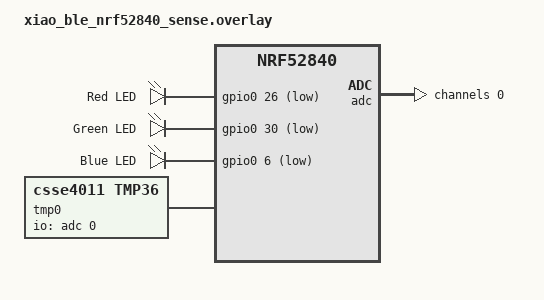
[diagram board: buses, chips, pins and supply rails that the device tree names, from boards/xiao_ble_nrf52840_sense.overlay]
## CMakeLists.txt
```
# SPDX-License-Identifier: Apache-2.0

cmake_minimum_required(VERSION 3.20.0)
find_package(Zephyr REQUIRED HINTS $ENV{ZEPHYR_BASE})
project(dispenser)

target_sources(app PRIVATE 
                src/main.c 
                src/mqtt_handler.c
                src/servo.c
                src/ir_beam.c
                src/wifi.c
)
```

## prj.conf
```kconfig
# # GPIO for IR beam and servo
# CONFIG_GPIO=y

# # Serial and console
# CONFIG_SERIAL=y
# CONFIG_CONSOLE=y
# CONFIG_PRINTK=y
# CONFIG_STDOUT_CONSOLE=y

# # State machine framework
# CONFIG_SMF=y

# # Shell
# CONFIG_SHELL=y
# # CONFIG_SHELL_BACKEND_SERIAL=y

# # Logging
# CONFIG_LOG=y

# # PWM for servo (when ready)
# CONFIG_PWM=y

# # GPIO
# CONFIG_GPIO=y

# # PWM
# CONFIG_PWM=y

# # Storage
# CONFIG_NVS=y
# CONFIG_FLASH=y
# CONFIG_FLASH_MAP=y

# # State machine
# CONFIG_SMF=y

# GPIO
CONFIG_GPIO=y

# PWM
CONFIG_PWM=y

# Storage
CONFIG_NVS=y
CONFIG_FLASH=y
CONFIG_FLASH_MAP=y

# State machine
CONFIG_SMF=y

# USB CDC ACM console
CONFIG_USB_DEVICE_STACK=y
CONFIG_USB_CDC_ACM=y
CONFIG_UART_LINE_CTRL=y

# Console
CONFIG_SERIAL=y
CONFIG_CONSOLE=y
CONFIG_UART_CONSOLE=y
CONFIG_PRINTK=y
CONFIG_STDOUT_CONSOLE=y

# Logging
CONFIG_LOG=y
CONFIG_LOG_BACKEND_UART=y

# Shell
CONFIG_SHELL=y
CONFIG_SHELL_BACKEND_SERIAL=y

# Disable RTT
CONFIG_USE_SEGGER_RTT=n

# SERVO FLAGS
```

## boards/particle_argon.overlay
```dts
#include <zephyr/dt-bindings/pwm/pwm.h>

/ {
    chosen {
        zephyr,console = &cdc_acm_uart0;
        zephyr,shell-uart = &cdc_acm_uart0;
        zephyr,uart-mcumgr = &cdc_acm_uart0;
    };

    pwmleds {
        compatible = "pwm-leds";
        servo: servo {
            pwms = <&pwm0 0 PWM_MSEC(20) PWM_POLARITY_NORMAL>;
        };
    };

    ir_beam: ir_beam {
        compatible = "gpio-keys";
        ir_sensor: ir_sensor {
            gpios = <&gpio1 2 (GPIO_ACTIVE_LOW | GPIO_PULL_UP)>;
            label = "IR Break Beam";
        };
    };
};

&zephyr_udc0 {
    cdc_acm_uart0: cdc_acm_uart0 {
        compatible = "zephyr,cdc-acm-uart";
    };
};

&pwm0 {
    status = "okay";
    pinctrl-0 = <&pwm0_default>;
    pinctrl-names = "default";
};

&pinctrl {
    pwm0_default: pwm0_default {
        group1 {
            psels = <NRF_PSEL(PWM_OUT0, 1, 1)>;
        };
    };
};
```

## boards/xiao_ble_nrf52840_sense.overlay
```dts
/ {
	aliases {
        led0 = &led0;
        led1 = &led1;
        led2 = &led2;
    };

    leds {
        compatible = "gpio-leds";

      led0: led_0 {
            gpios = <&gpio0 26 GPIO_ACTIVE_LOW>;
            label = "Red LED";
        };

        led1: led_1 {
            gpios = <&gpio0 30 GPIO_ACTIVE_LOW>;
            label = "Green LED";
        };

        led2: led_2 {
            gpios = <&gpio0 6 GPIO_ACTIVE_LOW>;
            label = "Blue LED";
        };
    };

    tmp0: tmp36 {
        compatible = "csse4011,tmp36";
        io-channels = <&adc 0>;
        status = "okay";
    };
};

&adc {
	#address-cells = <1>;
	#size-cells = <0>;

	channel@0 {
		reg = <0>;
		zephyr,gain = "ADC_GAIN_1_6";
		zephyr,reference = "ADC_REF_INTERNAL";
		zephyr,acquisition-time = <ADC_ACQ_TIME_DEFAULT>;
		zephyr,input-positive = <NRF_SAADC_AIN0>; /* D0 P0.02 */
		zephyr,resolution = <12>;
	};
};
```

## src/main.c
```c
/*
 * Copyright (c) 2026 Sam Kwort
 *
 * SPDX-License-Identifier: Apache-2.0
 */

#include <zephyr/kernel.h>
#include <zephyr/drivers/gpio.h>
#include <zephyr/shell/shell.h>
#include <zephyr/smf.h>
#include <zephyr/logging/log.h>
#include "main.h"
#include "mqtt_handler.h"
#include <zephyr/usb/usb_device.h>
#include <zephyr/drivers/uart.h>
#include "wifi.h"
#include "ir_beam.h"
#include "servo.h"

LOG_MODULE_REGISTER(dispenser, LOG_LEVEL_INF);

/* ========================================================================== */
/* State durations (ms) */
#define TICK_MS            100
#define STATE_COUNT         6

/* ========================================================================== */
/* State Machine Context                                                      */
/* ========================================================================== */

static const char *const state_names[] = {
    [STATE_IDLE] = "IDLE",
    [STATE_LOCKED] = "LOCKED",
    [STATE_WAITING_PIN] = "WAITING_PIN",
    [STATE_VALIDATING] = "VALIDATING",
    [STATE_UNLOCKED] = "UNLOCKED",
    [STATE_DISPENSING] = "DISPENSING",
};


struct dispenser_ctx dispenser_ctx;

/* ========================================================================== */
/* Forward Declarations                                                       */
/* ========================================================================== */

static enum smf_state_result idle_run(void *obj);

static void locked_entry(void *obj);
static enum smf_state_result locked_run(void *obj);

static void waiting_pin_entry(void *obj);
static enum smf_state_result waiting_pin_run(void *obj);

static void validating_entry(void *obj);
static enum smf_state_result validating_run(void *obj);

static void unlocked_entry(void *obj);
static enum smf_state_result unlocked_run(void *obj);

static void dispensing_entry(void *obj);
static enum smf_state_result dispensing_run(void *obj);


/* ========================================================================== */
/* State Table                                                                */
/* ========================================================================== */

static const struct smf_state states[] = {
    [STATE_IDLE] = SMF_CREATE_STATE(NULL, idle_run, NULL, NULL, NULL),

    [STATE_LOCKED] = SMF_CREATE_STATE(locked_entry, locked_run, NULL, NULL, NULL),

    [STATE_WAITING_PIN] = SMF_CREATE_STATE(waiting_pin_entry, waiting_pin_run, NULL, NULL, NULL),

    [STATE_VALIDATING] = SMF_CREATE_STATE(validating_entry, validating_run, NULL, NULL, NULL),

    [STATE_UNLOCKED] = SMF_CREATE_STATE(unlocked_entry, unlocked_run, NULL, NULL, NULL),
    
    [STATE_DISPENSING] = SMF_CREATE_STATE(dispensing_entry, dispensing_run, NULL, NULL, NULL),
};

/* ========================================================================== */
/* State Handlers                                                             */
/* ========================================================================== */

// Wait for scheduled unlock command from base, then transition to WAITING_PIN
static enum smf_state_result idle_run(void *obj)
{
    struct dispenser_ctx *ctx = obj;

    if (ctx->unlock_received) {
        // Reset for new cycle
        ctx->unlock_received = false;
        smf_set_state(SMF_CTX(ctx), &states[STATE_WAITING_PIN]);
        return SMF_EVENT_HANDLED;
    }

    return SMF_EVENT_HANDLED;
}

// Display "ENTER PIN" message to user
static void waiting_pin_entry(void *obj)
{
    struct dispenser_ctx *ctx = obj;
    // Clear entered pin for next cycle
    memset(ctx->entered_pin, 0, sizeof(ctx->entered_pin));  
    LOG_INF("ENTER PIN");
}

// Wait for pin entry from keypad, then transition to VALIDATING
static enum smf_state_result waiting_pin_run(void *obj)
{
    struct dispenser_ctx *ctx = obj;

    if (ctx->entered_pin[0] != '\0') { // simple check for pin entry
        smf_set_state(SMF_CTX(ctx), &states[STATE_VALIDATING]);
        return SMF_EVENT_HANDLED;
    }

    return SMF_EVENT_HANDLED;
}

// Display "VALIDATING" message to user
static void validating_entry(void *obj)
{
    struct dispenser_ctx *ctx = obj;
    LOG_INF("VALIDATING");
}

// Check entered pin against correct pin, transition to UNLOCKED or LOCKED
static enum smf_state_result validating_run(void *obj)
{
    struct dispenser_ctx *ctx = obj;
    if (strcmp(ctx->entered_pin, ctx->correct_pin) == 0) {
        smf_set_state(SMF_CTX(ctx), &states[STATE_UNLOCKED]);
        LOG_INF("Correct PIN");
    } 
    else {
        char payload[512];
        build_dispense_failure_event(ctx, "invalid_pin", payload, sizeof(payload));
        // Placeholder for MQTT publish function, replace with real implementation later
        // mqtt_publish_event(payload);
        smf_set_state(SMF_CTX(ctx), &states[STATE_LOCKED]);
        LOG_INF("Incorrect PIN");
    }

    return SMF_EVENT_HANDLED;
}

// Display "UNLOCKED" message and open servo
static void unlocked_entry(void *obj)
{
    struct dispenser_ctx *ctx = obj;
    ctx->servo_open = true;
    LOG_INF("UNLOCKED");
    // Opening servo and keeping track of how many times it's opened for maintenance purposes
    servo_open(); 
    ctx->servo_number_opens++;
}

// Transition straight to DISPENSING
static enum smf_state_result unlocked_run(void *obj)
{
    struct dispenser_ctx *ctx = obj;

    smf_set_state(SMF_CTX(ctx), &states[STATE_DISPENSING]);
    return SMF_EVENT_HANDLED;
}

// Close servo if open, display "LOCKED" message to user
static void locked_entry(void *obj)
{
    struct dispenser_ctx *ctx = obj;

    if (ctx->servo_open) {
        // Placeholder for servo to close flap
        servo_close(); 
        ctx->servo_open = false;
    }
    LOG_INF("LOCKED");
}

// Wait for scheduled unlock command from base, then transition to WAITING_PIN
static enum smf_state_result locked_run(void *obj)
{
    struct dispenser_ctx *ctx = obj;

    if (ctx->unlock_received) {
        // Reset for new cycle
        ctx->unlock_received = false;
        smf_set_state(SMF_CTX(ctx), &states[STATE_WAITING_PIN]);
        return SMF_EVENT_HANDLED;
    }

    return SMF_EVENT_HANDLED;
}

// Display "DISPENSING" message, decrement pill count and send dispense success event to base
static void dispensing_entry(void *obj)
{
    struct dispenser_ctx *ctx = obj;

    ctx->pill_count--;
    // PLACEHOLDER FOR PILL COUNT + AND -
    LOG_INF("DISPENSING - pills remaining: %d", ctx->pill_count);

    // Send dispense success event to base node for logging and inventory tracking
    char payload[512];
    build_dispense_success_event(ctx, payload, sizeof(payload));
    // Placeholder for MQTT publish function, replace with real implementation later
    // mqtt_publish_event(payload);
}

// Transitions straight to LOCKED
static enum smf_state_result dispensing_run(void *obj)
{
    struct dispenser_ctx *ctx = obj;

    smf_set_state(SMF_CTX(ctx), &states[STATE_LOCKED]);
    return SMF_EVENT_HANDLED;
}


/* ========================================================================== */
/* Shell Commands                                                             */
/* ========================================================================== */

static dispenser_state_t get_current_state(void)
{
    const struct smf_state *current = dispenser_ctx.ctx.current;

    for (int i = 0; i < STATE_COUNT; i++) {
        if (current == &states[i]) {
            return (dispenser_state_t)i;
        }
    }

    return STATE_IDLE;
}

static int cmd_permission(const struct shell *sh, size_t argc, char **argv)
{
    ARG_UNUSED(argc);
    ARG_UNUSED(argv);

    dispenser_ctx.unlock_received = true;
    shell_print(sh, "Unlock permission sent");

    return 0;
}

static int cmd_pin(const struct shell *sh, size_t argc, char **argv)
{
    ARG_UNUSED(argc);

    strncpy(dispenser_ctx.entered_pin, argv[1], sizeof(dispenser_ctx.entered_pin) - 1);
    shell_print(sh, "PIN entered: %s", argv[1]);

    return 0;
}

static int cmd_status(const struct shell *sh, size_t argc, char **argv)
{
    ARG_UNUSED(argc);
    ARG_UNUSED(argv);

    dispenser_state_t current = get_current_state();

    shell_print(sh, "State: %s", state_names[current]);
    shell_print(sh, "Pill count: %d", dispenser_ctx.pill_count);

    return 0;
}

SHELL_STATIC_SUBCMD_SET_CREATE(smf_cmds,
                               SHELL_CMD_ARG(permission, NULL,
                                             "Simulate unlock permission from base node\n"
                                             "Usage: smf permission",
                                             cmd_permission, 1, 0),
                               SHELL_CMD_ARG(pin, NULL,
                                             "Simulate PIN entry\n"
                                             "Usage: smf pin <pin>",
                                             cmd_pin, 2, 0),
                               SHELL_CMD(status, NULL,
                                         "Show current state and pill count",
                                         cmd_status),
                               SHELL_SUBCMD_SET_END);

SHELL_CMD_REGISTER(smf, &smf_cmds, "Dispenser state machine", NULL);

/* ========================================================================== */
/* Initialisation                                                             */
/* ========================================================================== */


int main(void)
{
    // Initialising hardware components
    servo_init();
    ir_beam_init();

    int ret;

    ret = usb_enable(NULL);
    if (ret != 0) {
        return ret;
    }

    /* Wait for DTR - host opens the port */
    const struct device *dev = DEVICE_DT_GET(DT_CHOSEN(zephyr_console));
    uint32_t dtr = 0;
    while (!dtr) {
        uart_line_ctrl_get(dev, UART_LINE_CTRL_DTR, &dtr);
        k_sleep(K_MSEC(100));
    }

    // Initialising state machine context
    dispenser_ctx.pill_count = ir_beam_get_count();
    dispenser_ctx.servo_number_opens = 0;
    dispenser_ctx.correct_pin = "1234";

    //connect_wifi();

    smf_set_initial(SMF_CTX(&dispenser_ctx), &states[STATE_IDLE]);

    while (1) {
        ret = smf_run_state(SMF_CTX(&dispenser_ctx));
        if (ret != 0) {
            LOG_ERR("State machine terminated: %d", ret);
            break;
        }
        k_msleep(TICK_MS);
    }

    return 0;
}
```

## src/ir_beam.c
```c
#include "ir_beam.h"
#include <zephyr/drivers/gpio.h>

static const struct gpio_dt_spec ir_sensor = GPIO_DT_SPEC_GET(DT_NODELABEL(ir_sensor), gpios);
static struct gpio_callback ir_cb_data;
static volatile int pill_count = 0;

static void ir_beam_triggered(const struct device *dev, struct gpio_callback *cb, uint32_t pins)
{
    pill_count++;
    printk("Pill detected! Total count: %d\n", pill_count);
}

void ir_beam_init(void)
{
    if (!gpio_is_ready_dt(&ir_sensor)) {
        printk("IR sensor GPIO not ready\n");
        return;
    }
    gpio_pin_configure_dt(&ir_sensor, GPIO_INPUT);
    gpio_pin_interrupt_configure_dt(&ir_sensor, GPIO_INT_EDGE_FALLING);
    gpio_init_callback(&ir_cb_data, ir_beam_triggered, BIT(ir_sensor.pin));
    gpio_add_callback(ir_sensor.port, &ir_cb_data);
}

int ir_beam_get_count(void)
{
    return pill_count;
}
```

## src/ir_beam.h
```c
#ifndef IR_BEAM
#define IR_BEAM

void ir_beam_init(void);
int ir_beam_get_count(void);

#endif
```

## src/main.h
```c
#ifndef MAIN_H
#define MAIN_H

#include <zephyr/smf.h>
#include <stdbool.h>

/* ========================================================================== */
/* State Machine States                                                       */
/* ========================================================================== */

typedef enum {
    STATE_IDLE,           // System startup, awaiting first unlock command
    STATE_LOCKED,         // Locked after a completed or failed cycle
    STATE_WAITING_PIN,    // Unlock command received, awaiting PIN entry
    STATE_VALIDATING,     // Checking entered PIN
    STATE_UNLOCKED,       // PIN correct, servo open
    STATE_DISPENSING,     // IR beam broken, pill detected
} dispenser_state_t;



// Struct for state machine context, holds current state and any relevant data
struct dispenser_ctx {
    struct smf_ctx ctx;
    bool unlock_received;    // set when unlock command comes from base node
    char entered_pin[8];     // pin entered by user on keypad
    char* correct_pin;       // correct pin for validation
    int pill_count;          // current pill inventory
    bool servo_open;         // current servo state, true if open
    int event_id;          // Incrementing event ID for outgoing events, used by base node for logging and tracking
    int servo_number_opens // Keeping track of how many times the servo has opened
};

// Global
extern struct dispenser_ctx dispenser_ctx;

#endif /* MAIN_H */
```

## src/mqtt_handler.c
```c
#include <zephyr/kernel.h>
#include <zephyr/data/json.h>
#include <zephyr/logging/log.h>
#include <stdio.h>
#include <string.h>
#include "mqtt_handler.h"

LOG_MODULE_REGISTER(mqtt_handler, LOG_LEVEL_INF);

// Current unlock permission command                                         
static struct unlock_permission_command current_unlock;


// Helper: Extract fields of incoming unlock permission command from base node and populate struct
static const struct json_obj_descr unlock_permission_descr[] = {
    JSON_OBJ_DESCR_PRIM(struct unlock_permission_command, schedule_id, JSON_TOK_STRING),
    JSON_OBJ_DESCR_PRIM(struct unlock_permission_command, medication_id, JSON_TOK_STRING),
    JSON_OBJ_DESCR_PRIM(struct unlock_permission_command, allowed_doses, JSON_TOK_NUMBER),
    JSON_OBJ_DESCR_PRIM(struct unlock_permission_command, unlock_window_sec, JSON_TOK_NUMBER),
    JSON_OBJ_DESCR_PRIM(struct unlock_permission_command, timestamp, JSON_TOK_NUMBER),
};

// Parse incoming unlock permission command by calling helper above 
// Will be called from main.c when MQTT message received from base node with unlock permission details                              
int parse_unlock_permission_command(const char *payload, struct dispenser_ctx *ctx)
{
    int ret = json_obj_parse((char *)payload, strlen(payload),
                             unlock_permission_descr,
                             ARRAY_SIZE(unlock_permission_descr),
                             &current_unlock);
    if (ret < 0) {
        LOG_ERR("Failed to parse unlock permission command: %d", ret);
        return ret;
    }

    // Reject if command type is not "unlock"
    // Could change later
    if (strcmp(current_unlock.type, "unlock") != 0) {
        LOG_ERR("Unexpected command type: %s", current_unlock.type);
        return -EINVAL;
    }

    ctx->unlock_received = true;

    LOG_INF("Unlock permission parsed: schedule=%s med=%s doses=%d",
            current_unlock.schedule_id,
            current_unlock.medication_id,
            current_unlock.allowed_doses);

    return 0;
}

// Build outgoing dispense success event                                      
int build_dispense_success_event(struct dispenser_ctx *ctx, char *buf, size_t buf_len)
{
    // Increment event ID for unique identification of this event in logs, etc. on base node
    ctx->event_id++;

    // Build JSON payload with event details, including current schedule/medication, amount dispensed, remaining estimate, etc.
    int ret = snprintf(buf, buf_len,
        "{"
        "\"event\": \"dispense_success\","
        "\"event_id\": \"evt_%04d\","
        "\"schedule_id\": \"%s\","
        "\"medication_id\": \"%s\","
        "\"dispensed_amount\": %d,"
        "\"remaining_estimate\": %d,"
        "\"auth_method\": \"pin\","
        "\"timestamp\": %lld"
        "}",
        ctx->event_id,
        current_unlock.schedule_id,
        current_unlock.medication_id,
        current_unlock.allowed_doses,
        ctx->pill_count,
        k_uptime_get());

    if (ret >= buf_len) {
        LOG_ERR("Dispense event buffer too small");
        return -ENOMEM;
    }

    LOG_INF("Built dispense event: %s", buf);
    return 0;
}

// Build outgoing dispense failure event                                         
int build_dispense_failure_event(struct dispenser_ctx *ctx, const char *reason, char *buf, size_t buf_len)
{
    // Increment event ID for unique identification of this event in logs, etc. on base node
    ctx->event_id++;

    // Build JSON payload with event details, including reason for failure
    int ret = snprintf(buf, buf_len,
        "{"
        "\"event\": \"dispense_failure\","
        "\"event_id\": \"evt_%04d\","
        "\"reason\": \"%s\","
        "\"timestamp\": %lld"
        "}",
        ctx->event_id,
        reason,
        k_uptime_get());

    if (ret >= buf_len) {
        LOG_ERR("Dispense failure event buffer too small");
        return -ENOMEM;
    }

    LOG_INF("Built dispense failure event: %s", buf);
    return 0;
}

/* ========================================================================== */
/* Publish event - stub for now                                              */
/* ========================================================================== */

int mqtt_publish_event(const char *payload)
{
    // TODO: replace with real MQTT publish call when Argon is available
    LOG_INF("MQTT publish (stub): %s", payload);
    return 0;
}
```

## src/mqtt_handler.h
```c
#ifndef MQTT_HANDLER_H
#define MQTT_HANDLER_H

#include <stddef.h>
#include "main.h"

/* ========================================================================== */
/* Unlock permission command from base node                                  */
/* ========================================================================== */

// Message published from base node to dispenser to grant unlock permission for a specific medication schedule
struct unlock_permission_command {
    char type[16];
    char schedule_id[16];
    char medication_id[16];
    int allowed_doses;
    int unlock_window_sec;
    int timestamp;
};


// Incoming - Parse unlock permission command from base node                 
int parse_unlock_permission_command(const char *payload, struct dispenser_ctx *ctx);


// Outgoing - Build event JSON payloads                                      
int build_dispense_success_event(struct dispenser_ctx *ctx, char *buf, size_t buf_len);
int build_dispense_failure_event(struct dispenser_ctx *ctx, const char *reason, char *buf, size_t buf_len);


// Publish - Stub for now, replace with real MQTT publish later              
int mqtt_publish_event(const char *payload);

#endif /* MQTT_HANDLER_H */
```

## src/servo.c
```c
#include "servo.h"
#include <zephyr/drivers/pwm.h>
#include <zephyr/logging/log.h>


LOG_MODULE_REGISTER(servo, LOG_LEVEL_INF);

#define SERVO_PERIOD_US 20000U
#define SERVO_CLOSED_US 1000U
#define SERVO_OPEN_US 2000U

static const struct pwm_dt_spec servo = PWM_DT_SPEC_GET(DT_NODELABEL(servo));

void servo_init(void)
{
    if (!pwm_is_ready_dt(&servo)) {
        LOG_ERR("Servo PWM not ready");
    }
    servo_close();
}

void servo_open(void)
{
    pwm_set_dt(&servo, PWM_USEC(SERVO_PERIOD_US), PWM_USEC(SERVO_OPEN_US));
}

void servo_close(void)
{
    pwm_set_dt(&servo, PWM_USEC(SERVO_PERIOD_US), PWM_USEC(SERVO_CLOSED_US));
}
```

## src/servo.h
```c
#ifndef SERVO
#define SERVO

void servo_init(void);
void servo_open(void);
void servo_close(void);

#endif
```

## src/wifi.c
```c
#include <zephyr/net/wifi_mgmt.h>
#include <zephyr/net/net_mgmt.h>
#include <zephyr/logging/log.h>

LOG_MODULE_REGISTER(wifi, LOG_LEVEL_INF);

#define WIFI_SSID "YOUR_SSID"
#define WIFI_PSK  "YOUR_PASSWORD"
#define WIFI_SSID "infrastructure"
#define WIFI_PSK  "the-generated-password-from-the-portal"

static struct net_mgmt_event_callback wifi_cb;
static K_SEM_DEFINE(wifi_connected_sem, 0, 1);

static void wifi_event_handler(struct net_mgmt_event_callback *cb,
                                uint32_t mgmt_event, struct net_if *iface)
{
    if (mgmt_event == NET_EVENT_WIFI_CONNECT_RESULT) {
        LOG_INF("WiFi connected!");
        k_sem_give(&wifi_connected_sem);
    }
}

void connect_wifi(void)
{
    struct net_if *iface = net_if_get_default();
    struct wifi_connect_req_params params = {
        .ssid = WIFI_SSID,
        .ssid_length = strlen(WIFI_SSID),
        .psk = WIFI_PSK,
        .psk_length = strlen(WIFI_PSK),
        .channel = WIFI_CHANNEL_ANY,
        .security = WIFI_SECURITY_TYPE_PSK,
        .ignore_broadcast_ssid = 1,   // <-- add this for hidden network
    };  

    net_mgmt_init_event_callback(&wifi_cb, wifi_event_handler,
                                  NET_EVENT_WIFI_CONNECT_RESULT);
    net_mgmt_add_event_callback(&wifi_cb);
    net_mgmt(NET_REQUEST_WIFI_CONNECT, iface, &params, sizeof(params));

    k_sem_take(&wifi_connected_sem, K_FOREVER);
}
```

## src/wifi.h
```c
#ifndef WIFI_H
#define WIFI_H

void connect_wifi(void);

#endif
```
